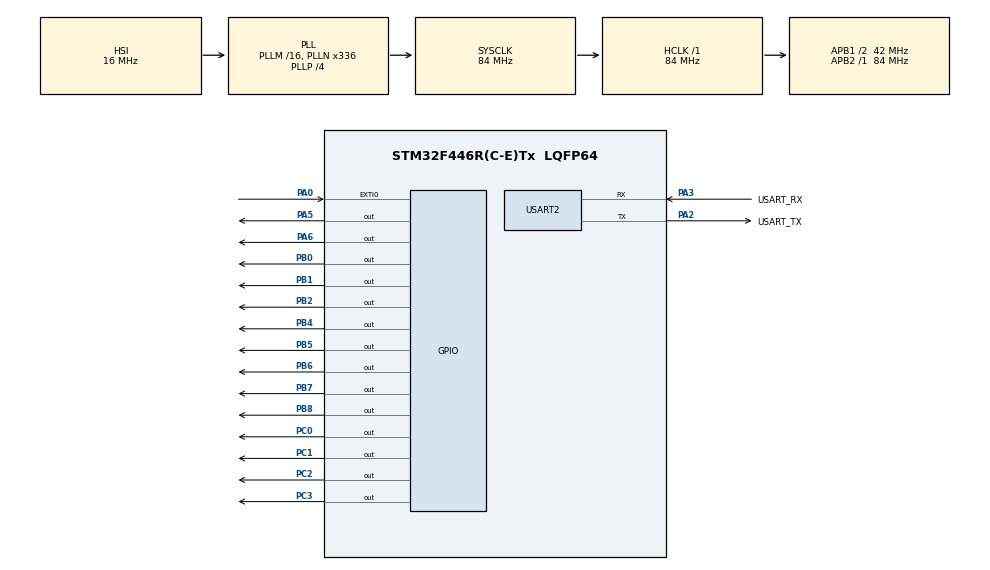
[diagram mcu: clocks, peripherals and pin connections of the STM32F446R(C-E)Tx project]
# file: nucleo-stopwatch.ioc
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Mcu.Family=STM32F4
Mcu.Name=STM32F446R(C-E)Tx
Mcu.Package=LQFP64
NVIC.EXTI0_IRQn=true\:0\:0\:false\:false\:true\:true\:true\:true
NVIC.PriorityGroup=NVIC_PRIORITYGROUP_0
NVIC.TIM2_IRQn=true\:0\:0\:false\:false\:true\:true\:true\:true
PA0-WKUP.GPIO_ModeDefaultEXTI=GPIO_MODE_IT_FALLING
PA0-WKUP.GPIO_PuPd=GPIO_PULLUP
PA0-WKUP.Signal=GPXTI0
PA13.GPIO_Label=TMS
PA13.Mode=Serial_Wire
PA13.Signal=SYS_JTMS-SWDIO
PA14.GPIO_Label=TCK
PA14.Mode=Serial_Wire
PA14.Signal=SYS_JTCK-SWCLK
PA2.GPIO_Label=USART_TX
PA2.Mode=Asynchronous
PA2.Signal=USART2_TX
PA3.GPIO_Label=USART_RX
PA3.Mode=Asynchronous
PA3.Signal=USART2_RX
PA5.Signal=GPIO_Output
PA6.Signal=GPIO_Output
PB0.Signal=GPIO_Output
PB1.Signal=GPIO_Output
PB2.Signal=GPIO_Output
PB3.GPIO_Label=SWO
PB3.Signal=SYS_JTDO-SWO
PB4.Signal=GPIO_Output
PB5.Signal=GPIO_Output
PB6.Signal=GPIO_Output
PB7.Signal=GPIO_Output
PB8.Signal=GPIO_Output
PC0.Signal=GPIO_Output
PC1.Signal=GPIO_Output
PC14-OSC32_IN.Mode=LSE-External-Oscillator
PC14-OSC32_IN.Signal=RCC_OSC32_IN
PC15-OSC32_OUT.Mode=LSE-External-Oscillator
PC15-OSC32_OUT.Signal=RCC_OSC32_OUT
PC2.Signal=GPIO_Output
PC3.Signal=GPIO_Output
PH0-OSC_IN.Mode=HSE-External-Oscillator
PH0-OSC_IN.Signal=RCC_OSC_IN
PH1-OSC_OUT.Mode=HSE-External-Oscillator
PH1-OSC_OUT.Signal=RCC_OSC_OUT
ProjectManager.HeapSize=0x200
ProjectManager.StackSize=0x400
ProjectManager.TargetToolchain=STM32CubeIDE
RCC.48MHZClocksFreq_Value=84000000
RCC.AHBFreq_Value=84000000
RCC.APB1CLKDivider=RCC_HCLK_DIV2
RCC.APB1Freq_Value=42000000
RCC.APB1TimFreq_Value=84000000
RCC.APB2Freq_Value=84000000
RCC.APB2TimFreq_Value=84000000
RCC.CortexFreq_Value=84000000
RCC.FLatency-AdvancedSettings=FLASH_LATENCY_2
RCC.HCLKFreq_Value=84000000
RCC.HSE_VALUE=8000000
RCC.HSI_VALUE=16000000
RCC.PLLN=336
RCC.PLLP=RCC_PLLP_DIV4
RCC.SYSCLKFreq_VALUE=84000000
RCC.SYSCLKSource=RCC_SYSCLKSOURCE_PLLCLK
RCC.USBFreq_Value=168000000
RCC.VCOOutputFreq_Value=336000000
TIM2.Period=999
TIM2.Prescaler=83
USART2.VirtualMode=VM_ASYNC
VP_TIM2_VS_ClockSourceINT.Mode=Internal
board=NUCLEO-F446RE

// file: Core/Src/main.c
/* USER CODE BEGIN Header */
/**
  ******************************************************************************
  * @file           : main.c
  * @brief          : Main program body
  ******************************************************************************
  * @attention
  *
  * Copyright (c) 2025 STMicroelectronics.
  * All rights reserved.
  *
  * This software is licensed under terms that can be found in the LICENSE file
  * in the root directory of this software component.
  * If no LICENSE file comes with this software, it is provided AS-IS.
  *
  ******************************************************************************
  */
/* USER CODE END Header */
#include "main.h"

/* USER CODE BEGIN Includes */
#include "sevenseg4.h"
#include "stopwatch.h"
/* USER CODE END Includes */

/* USER CODE BEGIN PD */
#define BTN_DEBOUNCE_MS  200u
/* USER CODE END PD */

TIM_HandleTypeDef htim2;
UART_HandleTypeDef huart2;

/* USER CODE BEGIN PV */
static volatile uint32_t g_last_btn_ms = 0;
/* USER CODE END PV */

void SystemClock_Config(void);
static void MX_GPIO_Init(void);
static void MX_USART2_UART_Init(void);
static void MX_TIM2_Init(void);

int main(void)
{

  /* MCU Configuration--------------------------------------------------------*/

  /* Reset of all peripherals, Initializes the Flash interface and the Systick. */
  HAL_Init();

  /* Configure the system clock */
  SystemClock_Config();

  /* Initialize all configured peripherals */
  MX_GPIO_Init();
  MX_USART2_UART_Init();
  MX_TIM2_Init();

  /* USER CODE BEGIN 2 */
  /*
   * CubeMX pin/peripheral expectations (configure in .ioc):
   *  - PC0..PC3: digit enables (GPIO output)
   *  - PB0,PB1,PB2,PB4,PB5,PB6,PB7,PB8: segments (GPIO output)
   *  - PA0: EXTI0 falling edge with PULLUP (external button to GND)
   *  - PA6: GPIO output push-pull (active buzzer)
   *  - TIM2: ~1ms update interrupt (scan + stopwatch tick)
   */
  SevenSeg4_Init();
  Stopwatch_Init();

  HAL_TIM_Base_Start_IT(&htim2);
  /* USER CODE END 2 */

  /* Infinite loop */
  /* USER CODE BEGIN WHILE */
  while (1)
  {
    // Interrupt-driven
  }
  /* USER CODE END WHILE */

}

void SystemClock_Config(void)
{
  RCC_OscInitTypeDef RCC_OscInitStruct = {0};
  RCC_ClkInitTypeDef RCC_ClkInitStruct = {0};

  /** Configure the main internal regulator output voltage */
  __HAL_RCC_PWR_CLK_ENABLE();
  __HAL_PWR_VOLTAGESCALING_CONFIG(PWR_REGULATOR_VOLTAGE_SCALE3);

  /** Initializes the RCC Oscillators according to the specified parameters
  * in the RCC_OscInitTypeDef structure.
  */
  RCC_OscInitStruct.OscillatorType = RCC_OSCILLATORTYPE_HSI;
  RCC_OscInitStruct.HSIState = RCC_HSI_ON;
  RCC_OscInitStruct.HSICalibrationValue = RCC_HSICALIBRATION_DEFAULT;
  RCC_OscInitStruct.PLL.PLLState = RCC_PLL_ON;
  RCC_OscInitStruct.PLL.PLLSource = RCC_PLLSOURCE_HSI;
  RCC_OscInitStruct.PLL.PLLM = 16;
  RCC_OscInitStruct.PLL.PLLN = 336;
  RCC_OscInitStruct.PLL.PLLP = RCC_PLLP_DIV4;
  RCC_OscInitStruct.PLL.PLLQ = 2;
  RCC_OscInitStruct.PLL.PLLR = 2;
  if (HAL_RCC_OscConfig(&RCC_OscInitStruct) != HAL_OK)
  {
    Error_Handler();
  }

  /** Initializes the CPU, AHB and APB buses clocks */
  RCC_ClkInitStruct.ClockType = RCC_CLOCKTYPE_HCLK|RCC_CLOCKTYPE_SYSCLK
                              |RCC_CLOCKTYPE_PCLK1|RCC_CLOCKTYPE_PCLK2;
  RCC_ClkInitStruct.SYSCLKSource = RCC_SYSCLKSOURCE_PLLCLK;
  RCC_ClkInitStruct.AHBCLKDivider = RCC_SYSCLK_DIV1;
  RCC_ClkInitStruct.APB1CLKDivider = RCC_HCLK_DIV2;
  RCC_ClkInitStruct.APB2CLKDivider = RCC_HCLK_DIV1;

  if (HAL_RCC_ClockConfig(&RCC_ClkInitStruct, FLASH_LATENCY_2) != HAL_OK)
  {
    Error_Handler();
  }
}

static void MX_TIM2_Init(void)
{

  TIM_ClockConfigTypeDef sClockSourceConfig = {0};
  TIM_MasterConfigTypeDef sMasterConfig = {0};

  htim2.Instance = TIM2;
  htim2.Init.Prescaler = 83;
  htim2.Init.CounterMode = TIM_COUNTERMODE_UP;
  htim2.Init.Period = 999;
  htim2.Init.ClockDivision = TIM_CLOCKDIVISION_DIV1;
  htim2.Init.AutoReloadPreload = TIM_AUTORELOAD_PRELOAD_DISABLE;
  if (HAL_TIM_Base_Init(&htim2) != HAL_OK)
  {
    Error_Handler();
  }
  sClockSourceConfig.ClockSource = TIM_CLOCKSOURCE_INTERNAL;
  if (HAL_TIM_ConfigClockSource(&htim2, &sClockSourceConfig) != HAL_OK)
  {
    Error_Handler();
  }
  sMasterConfig.MasterOutputTrigger = TIM_TRGO_RESET;
  sMasterConfig.MasterSlaveMode = TIM_MASTERSLAVEMODE_DISABLE;
  if (HAL_TIMEx_MasterConfigSynchronization(&htim2, &sMasterConfig) != HAL_OK)
  {
    Error_Handler();
  }
}

static void MX_USART2_UART_Init(void)
{

  huart2.Instance = USART2;
  huart2.Init.BaudRate = 115200;
  huart2.Init.WordLength = UART_WORDLENGTH_8B;
  huart2.Init.StopBits = UART_STOPBITS_1;
  huart2.Init.Parity = UART_PARITY_NONE;
  huart2.Init.Mode = UART_MODE_TX_RX;
  huart2.Init.HwFlowCtl = UART_HWCONTROL_NONE;
  huart2.Init.OverSampling = UART_OVERSAMPLING_16;
  if (HAL_UART_Init(&huart2) != HAL_OK)
  {
    Error_Handler();
  }
}

static void MX_GPIO_Init(void)
{
  GPIO_InitTypeDef GPIO_InitStruct = {0};

  /* GPIO Ports Clock Enable */
  __HAL_RCC_GPIOC_CLK_ENABLE();
  __HAL_RCC_GPIOH_CLK_ENABLE();
  __HAL_RCC_GPIOA_CLK_ENABLE();
  __HAL_RCC_GPIOB_CLK_ENABLE();

  /*
   * IMPORTANT (CubeMX compatibility):
   * This GPIO init should be generated by CubeMX based on your .ioc.
   * However, this version is still "CubeMX style" and safe to regenerate
   * if you re-apply the same pin configuration in CubeMX.
   *
   * Pins expected:
   *  - PC0..PC3 digits (output)
   *  - PB0,1,2,4,5,6,7,8 segments (output)
   *  - PA0 button EXTI falling + pull-up
   *  - PA6 buzzer output
   *  - PA5 optional LED output
   */

  /* --- Output levels (safe startup) --- */

  /* Digits OFF (common anode: OFF=LOW) */
  HAL_GPIO_WritePin(GPIOC, GPIO_PIN_0|GPIO_PIN_1|GPIO_PIN_2|GPIO_PIN_3, GPIO_PIN_RESET);

  /* LED + Buzzer OFF */
  HAL_GPIO_WritePin(GPIOA, GPIO_PIN_5|GPIO_PIN_6, GPIO_PIN_RESET);

  /* Segments OFF (active-low segments: OFF=HIGH) */
  HAL_GPIO_WritePin(GPIOB,
                    GPIO_PIN_0|GPIO_PIN_1|GPIO_PIN_2|GPIO_PIN_4|
                    GPIO_PIN_5|GPIO_PIN_6|GPIO_PIN_7|GPIO_PIN_8,
                    GPIO_PIN_SET);

  /* --- Configure pins --- */

  /* PC0..PC3 digits */
  GPIO_InitStruct.Pin = GPIO_PIN_0|GPIO_PIN_1|GPIO_PIN_2|GPIO_PIN_3;
  GPIO_InitStruct.Mode = GPIO_MODE_OUTPUT_PP;
  GPIO_InitStruct.Pull = GPIO_NOPULL;
  GPIO_InitStruct.Speed = GPIO_SPEED_FREQ_LOW;
  HAL_GPIO_Init(GPIOC, &GPIO_InitStruct);

  /* PA0 button EXTI falling + pull-up */
  GPIO_InitStruct.Pin = GPIO_PIN_0;
  GPIO_InitStruct.Mode = GPIO_MODE_IT_FALLING;
  GPIO_InitStruct.Pull = GPIO_PULLUP;
  HAL_GPIO_Init(GPIOA, &GPIO_InitStruct);

  /* PA5 optional LED */
  GPIO_InitStruct.Pin = GPIO_PIN_5;
  GPIO_InitStruct.Mode = GPIO_MODE_OUTPUT_PP;
  GPIO_InitStruct.Pull = GPIO_NOPULL;
  GPIO_InitStruct.Speed = GPIO_SPEED_FREQ_LOW;
  HAL_GPIO_Init(GPIOA, &GPIO_InitStruct);

  /* PA6 active buzzer output */
  GPIO_InitStruct.Pin = GPIO_PIN_6;
  GPIO_InitStruct.Mode = GPIO_MODE_OUTPUT_PP;
  GPIO_InitStruct.Pull = GPIO_NOPULL;
  GPIO_InitStruct.Speed = GPIO_SPEED_FREQ_LOW;
  HAL_GPIO_Init(GPIOA, &GPIO_InitStruct);

  /* PB segments */
  GPIO_InitStruct.Pin = GPIO_PIN_0|GPIO_PIN_1|GPIO_PIN_2|GPIO_PIN_4
                      | GPIO_PIN_5|GPIO_PIN_6|GPIO_PIN_7|GPIO_PIN_8;
  GPIO_InitStruct.Mode = GPIO_MODE_OUTPUT_PP;
  GPIO_InitStruct.Pull = GPIO_NOPULL;
  GPIO_InitStruct.Speed = GPIO_SPEED_FREQ_LOW;
  HAL_GPIO_Init(GPIOB, &GPIO_InitStruct);

  /* EXTI interrupt init */
  HAL_NVIC_SetPriority(EXTI0_IRQn, 0, 0);
  HAL_NVIC_EnableIRQ(EXTI0_IRQn);
}

/* USER CODE BEGIN 4 */

void HAL_GPIO_EXTI_Callback(uint16_t GPIO_Pin)
{
  if (GPIO_Pin == GPIO_PIN_0)  // PA0 triggers EXTI0
  {
    uint32_t now = HAL_GetTick();

    // Debounce gate
    if ((now - g_last_btn_ms) >= BTN_DEBOUNCE_MS)
    {
      g_last_btn_ms = now;
      Stopwatch_ButtonEdgePress();
    }
  }
}

void HAL_TIM_PeriodElapsedCallback(TIM_HandleTypeDef *htim)
{
  if (htim->Instance == TIM2)
  {
    SevenSeg4_Tick1ms();
    Stopwatch_Tick1ms();
  }
}

/* USER CODE END 4 */

void Error_Handler(void)
{
  __disable_irq();
  while (1) { }
}

#ifdef USE_FULL_ASSERT
void assert_failed(uint8_t *file, uint32_t line)
{
  /* USER CODE BEGIN 6 */
  (void)file;
  (void)line;
  /* USER CODE END 6 */
}
#endif /* USE_FULL_ASSERT */
